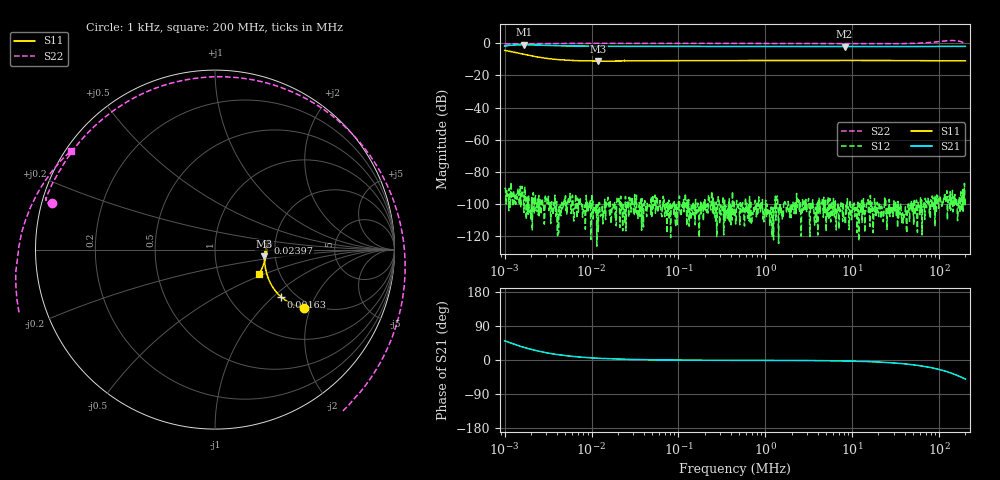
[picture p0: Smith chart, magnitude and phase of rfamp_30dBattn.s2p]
! ListType=Log
# MHZ S RI R 50
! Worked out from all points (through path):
!   1000 points, 1 kHz to 200 MHz, reference 50 ohm
!   highest |S21| = -1.00 dB at 1.671 kHz (marker M1); lowest = -2.2 dB at 8.143 MHz (marker M2)
!   group delay of S21, straight-line fit = 839 ps
!   lowest |S11| = -11.2 dB at 11.95 kHz (marker M3), VSWR 1.76, Z = 87.4 - j7 ohm
!   |S11| at or under -10 dB: 3.689 kHz to end of sweep
!   |S22| runs from -0.5 to 1.7 dB; largest |S21 - S12| = 0.89
!   S11 on the Smith chart (normalised r, x): 1 kHz: 1.80, -1.81; 1.63 kHz: 1.69, -1.13; 23.97 kHz: 1.82, +0.14; 200 MHz: 1.57, -0.46
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0.001  0.4959 -0.325  0.5181 0.6279  -1.15e-05 -2.99e-05  -0.9089 0.26
0.0016302  0.3694 -0.2652  0.7385 0.4987  1.35e-05 -6.3e-06  -0.9204 0.2573
0.0016706  0.3652 -0.2609  0.745 0.4891  3.3e-06 -4.5e-06  -0.9212 0.2574
0.0076941  0.2758 -0.0606  0.7983 0.1041  -2.1e-06 8.4e-06  -0.9422 0.2759
0.011945  0.274 -0.037  0.79 0.0561  -1.2e-06 6e-07  -0.9435 0.2782
0.0239689  0.2933 0.0358  0.797 0.0226  -3.4e-06 -2.8e-06  -0.9432 0.2849
0.0584804  0.2839 -0.00188  0.7941 0.00333  1.1e-06 -7.5e-06  -0.9406 0.2882
0.4499541  0.2876 0.00193  0.7875 -0.0112  1.8e-06 7.1e-06  -0.9349 0.303
3.419952  0.2892 -0.00103  0.782 -0.0194  -1.8e-06 -7.2e-06  -0.8867 0.4028
8.142727  0.2897 -0.00513  0.7798 -0.0344  4.2e-06 1e-06  -0.799 0.5443
15.75114  0.2892 -0.0115  0.7786 -0.0589  1.9e-06 -6.3e-06  -0.6199 0.7325
26.31347  0.2881 -0.0199  0.7755 -0.0936  3.6e-06 -3.5e-06  -0.3118 0.9064
38.43037  0.2864 -0.0289  0.7704 -0.1335  1.2e-06 -2.3e-06  0.0882 0.9611
50.9003  0.2843 -0.0376  0.7635 -0.1747  -1e-07 -2.3e-06  0.4925 0.8486
64.99008  0.2818 -0.047  0.7539 -0.2212  6e-06 -3.9e-06  0.8567 0.5339
81.97236  0.2786 -0.0581  0.739 -0.2769  5.3e-06 -7.1e-06  1.057 -0.0223
103.3922  0.2743 -0.0721  0.7131 -0.3463  -9.6e-06 -1.12e-05  0.8402 -0.7545
128.8255  0.2683 -0.0888  0.6716 -0.4257  -1.25e-05 -1.01e-05  0.0311 -1.195
145.5678  0.2643 -0.0996  0.6387 -0.4749  5.8e-06 -1.22e-05  -0.5687 -1.06
164.4859  0.2588 -0.1117  0.5962 -0.527  4.6e-06 -3.3e-06  -1.028 -0.5582
179.1732  0.254 -0.1221  0.5569 -0.5677  -1.87e-05 -8.8e-06  -1.102 -0.0581
200  0.2472 -0.135  0.507 -0.6087  -1.29e-05 -6.6e-06  -0.8026 0.5506
